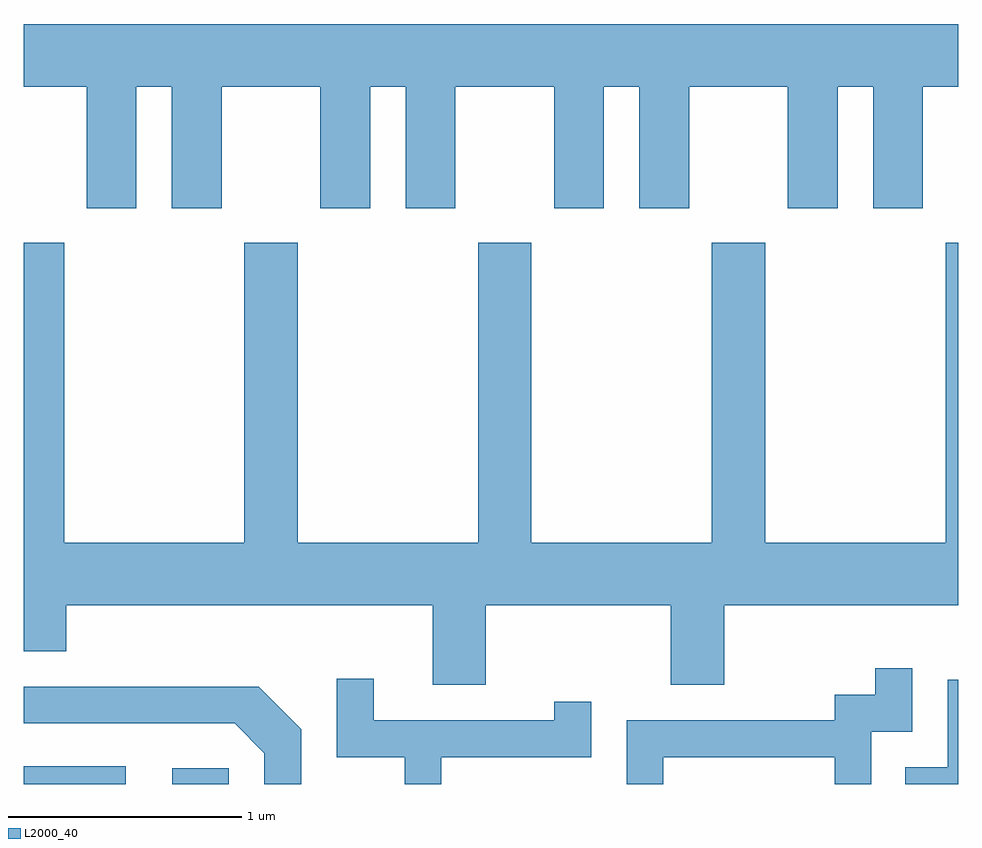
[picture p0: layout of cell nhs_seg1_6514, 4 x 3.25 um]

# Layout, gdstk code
import gdstk
lib = gdstk.Library(unit=1e-6, precision=1e-09)
def R(c, l, rs):  # rectangles x0, y0, x1, y1
    for r in rs: c.add(gdstk.rectangle(r[:2], r[2:], *l))
def P(c, l, *ps):  # polygons
    for p in ps: c.add(gdstk.Polygon(p, *l))
L2000_40 = (2000, 40)

nhs_seg1_6514 = lib.new_cell('nhs_seg1_6514')
R(nhs_seg1_6514, L2000_40, [(381.611,887.712,382.048,887.789), (382.248,887.712,382.489,887.779)])
P(nhs_seg1_6514, L2000_40, [(382.094,890.696),(382.246,890.696),(382.246,890.176),(382.459,890.176),(382.459,890.696),(382.881,890.696),(382.881,890.176),(383.094,890.176),(383.094,890.696),(383.246,890.696),(383.246,890.176),(383.459,890.176),(383.459,890.696),(383.881,890.696),(383.881,890.176),(384.094,890.176),(384.094,890.696),(384.246,890.696),(384.246,890.176),(384.459,890.176),(384.459,890.696),(384.881,890.696),(384.881,890.176),(385.094,890.176),(385.094,890.696),(385.246,890.696),(385.246,890.176),(385.459,890.176),(385.459,890.696),(385.611,890.696),(385.611,890.964),(381.611,890.964),(381.611,890.696),(381.881,890.696),(381.881,890.176),(382.094,890.176)],
  [(383.589,888.476),(384.381,888.476),(384.381,888.136),(384.609,888.136),(384.609,888.476),(385.611,888.476),(385.611,890.029),(385.556,890.029),(385.556,888.744),(384.784,888.744),(384.784,890.029),(384.556,890.029),(384.556,888.744),(383.784,888.744),(383.784,890.029),(383.556,890.029),(383.556,888.744),(382.784,888.744),(382.784,890.029),(382.556,890.029),(382.556,888.744),(381.784,888.744),(381.784,890.029),(381.611,890.029),(381.611,888.281),(381.794,888.281),(381.794,888.476),(383.361,888.476),(383.361,888.136),(383.589,888.136)],
  [(384.349,887.826),(385.081,887.826),(385.081,887.712),(385.239,887.712),(385.239,887.936),(385.414,887.936),(385.414,888.208),(385.256,888.208),(385.256,888.094),(385.081,888.094),(385.081,887.984),(384.191,887.984),(384.191,887.712),(384.349,887.712)],
  [(383.399,887.826),(384.039,887.826),(384.039,888.063),(383.881,888.063),(383.881,887.984),(383.109,887.984),(383.109,888.163),(382.951,888.163),(382.951,887.826),(383.241,887.826),(383.241,887.712),(383.399,887.712)],
  [(385.611,888.159),(385.566,888.159),(385.566,887.784),(385.383,887.784),(385.383,887.712),(385.611,887.712)],
  [(382.799,887.947),(382.617,888.129),(381.611,888.129),(381.611,887.971),(382.514,887.971),(382.641,887.844),(382.641,887.712),(382.799,887.712)])

lib.write_gds('nhs_seg1_6514.gds')
